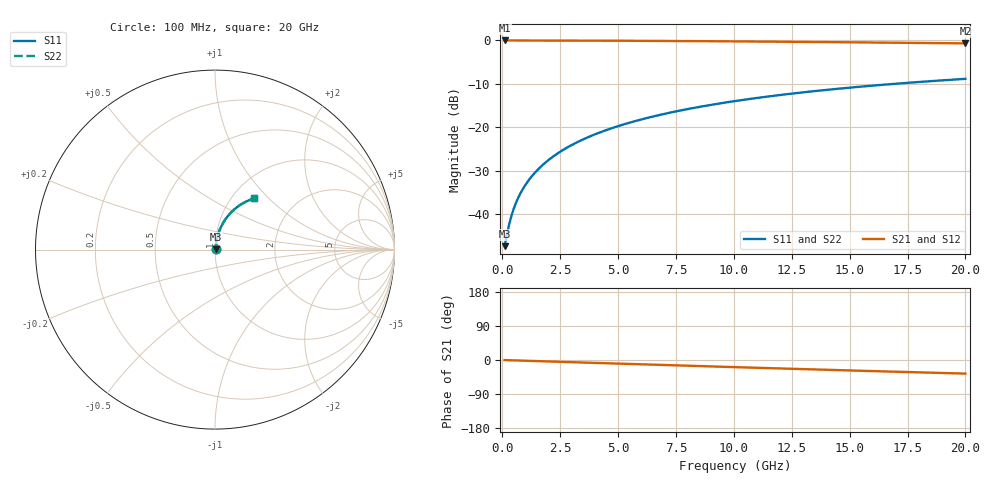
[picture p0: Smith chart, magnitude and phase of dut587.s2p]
! Touchstone file exported from HFSS 2026.1.0
!  File:  C:/ffzhzh/LocalFiles/Ansys_Project_Files/temp_train_BSMRDL_587_1783015799_46388.aedt
!  Generated:  02:11:27 AM Jul  3, 2026
!  Design:  BSMRDL
!  Project:  temp_train_BSMRDL_587_1783015799_46388
! Variables:
!  h_bsmrdl = 2.65um
!  h_ox = 20um
!  h_rdl = 5um
!  h_sub = 80um
!  h_tmrdl = 5um
!  h_tsv = 80um
!  h_via = 3um
!  l_bsmrdl = 490.82um
!  l_sub = 890.82um
!  l_tmrdl = 200um
!  m_sub = 200um
!  pitch = 45.71um
!  r_tsv = 6um
!  s_tmrdl = 10um
!  w_bsmrdl = 19.28um
!  w_sub = 500um
!  w_tmrdl = 12um
!  x_tsv_center1 = 206um
!  x_tsv_center2 = 716.1um
!  x_tsv_center3 = 928.1um
!  x_tsv_center4 = 1438.2um
!  x_tsv_center5 = 1650.2um
!  x_tsv_center6 = 2160.3um
# GHz S MA R 50.000000
! Terminal data exported
! Port[1] = BSM_RDL1_1_T1
! Port[2] = BSM_RDL1_1_T2
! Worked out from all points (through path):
!   200 points, 100 MHz to 20 GHz, reference 50 ohm
!   highest |S21| = -0.03 dB at 100 MHz (marker M1); lowest = -0.7 dB at 20 GHz (marker M2)
!   group delay of S21, straight-line fit = 5 ps
!   lowest |S11| = -47.4 dB at 100 MHz (marker M3), VSWR 1.01, Z = 50.4 + j0.227 ohm
!   |S11| at or under -10 dB: start of sweep to 16.97 GHz
!   |S22| runs from -47.4 to -8.9 dB; largest |S21 - S12| = 2.7e-15
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0.1  0.004282 31.7  0.9964 -0.2  0.9964 -0.2  0.004282 31.7
! Gamma 0 0 0 0
! Port Impedance 50 0 50 0
0.2  0.005839 50.0  0.9963 -0.4  0.9963 -0.4  0.005839 50.0
0.3  0.007711 59.5  0.9961 -0.6  0.9961 -0.6  0.007711 59.5
0.4  0.009677 65.0  0.996 -0.8  0.996 -0.8  0.009677 65.0
0.5  0.01167 68.5  0.9959 -1.0  0.9959 -1.0  0.01167 68.5
0.6  0.01367 71.0  0.9957 -1.2  0.9957 -1.2  0.01367 71.0
0.8  0.01768 74.2  0.9955 -1.6  0.9955 -1.6  0.01768 74.2
1.1  0.02372 76.9  0.9952 -2.1  0.9952 -2.1  0.02372 76.9
1.3  0.02778 78.0  0.9951 -2.5  0.9951 -2.5  0.02778 78.0
1.6  0.03388 79.0  0.9948 -3.1  0.9948 -3.1  0.03388 79.0
2.1  0.04409 79.7  0.9943 -4.0  0.9943 -4.0  0.04409 79.7
2.7  0.05635 79.8  0.9935 -5.2  0.9935 -5.2  0.05635 79.8
3.5  0.07266 79.3  0.9923 -6.7  0.9923 -6.7  0.07266 79.3
4.2  0.08686 78.5  0.9909 -8.0  0.9909 -8.0  0.08686 78.5
5  0.103 77.4  0.9892 -9.5  0.9892 -9.5  0.103 77.4
5.9  0.1209 76.0  0.9868 -11.2  0.9868 -11.2  0.1209 76.0
6.8  0.1385 74.5  0.9842 -12.9  0.9842 -12.9  0.1386 74.5
8.3  0.1674 72.0  0.9792 -15.7  0.9792 -15.7  0.1674 72.0
10.1  0.201 68.9  0.9722 -19.0  0.9722 -19.0  0.201 68.9
13.4  0.259 63.3  0.9573 -24.8  0.9573 -24.8  0.259 63.3
16.7  0.3122 57.8  0.9405 -30.5  0.9405 -30.5  0.3122 57.8
20  0.3603 52.5  0.9226 -35.9  0.9226 -35.9  0.3603 52.5
